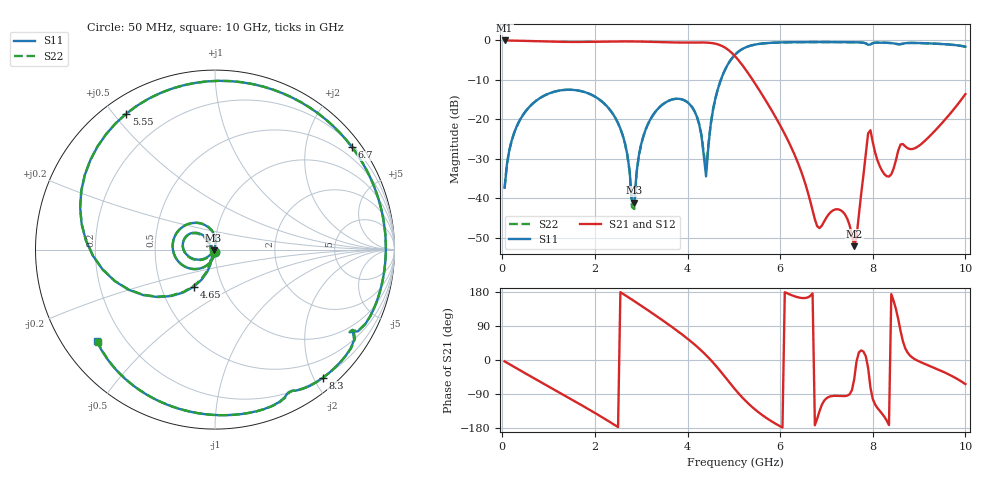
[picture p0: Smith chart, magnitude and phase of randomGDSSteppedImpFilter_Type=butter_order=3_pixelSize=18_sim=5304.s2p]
! freq	dB(S11)	phase(S11)	dB(S12)	phase(S12)
!  dB(S21)	phase(S21)	dB(S22)	phase(S22)
!S-par simulation data
#  GHz  S  DB  R 50
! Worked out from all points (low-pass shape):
!   200 points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, 50 MHz to 10 GHz, reference 50 ohm
!   highest |S21| = -0.01 dB at 50 MHz (marker M1); lowest = -52.1 dB at 7.6 GHz (marker M2)
!   |S21| within 3 dB of the highest: start of sweep to 4.941 GHz
!   lowest |S11| = -41.1 dB at 2.85 GHz (marker M3), VSWR 1.02, Z = 49.2 - j0.329 ohm
!   |S11| at or under -10 dB: start of sweep to 4.72 GHz
!   |S22| runs from -42.7 to -0.4 dB; largest |S21 - S12| = 0
!   S11 on the Smith chart (normalised r, x): 50 MHz: 1.00, -0.03; 4.65 GHz: 0.73, -0.32; 5.55 GHz: 0.07, +0.54; 6.7 GHz: 0.24, +2.99; 8.3 GHz: 0.19, -2.13; 10 GHz: 0.10, -0.34
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0.05  -37.32 -93.1  -0.01 -3.6  -0.01 -3.6  -37.33 -93.2
0.2  -25.49 -104.2  -0.04 -14.3  -0.04 -14.3  -25.49 -104.2
0.55  -17.28 -129.2  -0.14 -38.9  -0.14 -38.9  -17.28 -129.3
1.75  -12.99 148.0  -0.38 -121.9  -0.38 -121.9  -12.99 147.7
2.5  -20.96 95.2  -0.26 -177.1  -0.26 -177.1  -20.98 93.7
2.85  -41.13 -157.6  -0.26 155.4  -0.26 155.4  -42.71 -138.8
3  -26.22 -133.5  -0.29 143.2  -0.29 143.2  -26.25 -129.8
3.4  -16.85 -162.1  -0.42 110.0  -0.42 110.0  -16.85 -160.7
4.1  -16.94 138.4  -0.53 46.2  -0.53 46.2  -16.91 140.2
4.4  -34.44 -161.8  -0.54 12.9  -0.54 12.9  -32.66 -163.2
4.65  -12.51 -119.7  -0.98 -20.6  -0.98 -20.6  -12.49 -120.6
5.05  -3.34 -177.1  -4.31 -80.8  -4.31 -80.8  -3.34 -177.2
5.55  -0.88 123.2  -12.60 -139.6  -12.60 -139.6  -0.87 123.3
6.7  -0.42 36.8  -43.07 175.7  -43.07 175.7  -0.41 37.2
7.35  -0.43 -1.3  -43.38 -95.3  -43.38 -95.3  -0.43 -0.9
7.6  -0.47 -15.2  -52.11 -50.1  -52.11 -50.1  -0.46 -14.7
7.9  -1.11 -31.6  -23.52 -21.4  -23.52 -21.4  -1.10 -31.1
8.3  -0.60 -50.0  -34.39 -159.7  -34.39 -159.7  -0.59 -49.5
8.35  -0.63 -52.7  -34.47 -171.6  -34.47 -171.6  -0.63 -52.1
8.6  -0.96 -63.0  -26.35 76.7  -26.35 76.7  -0.94 -62.5
9.25  -0.77 -96.6  -24.00 -16.6  -24.00 -16.6  -0.76 -96.1
10  -1.59 -142.3  -13.59 -63.6  -13.59 -63.6  -1.58 -141.7
